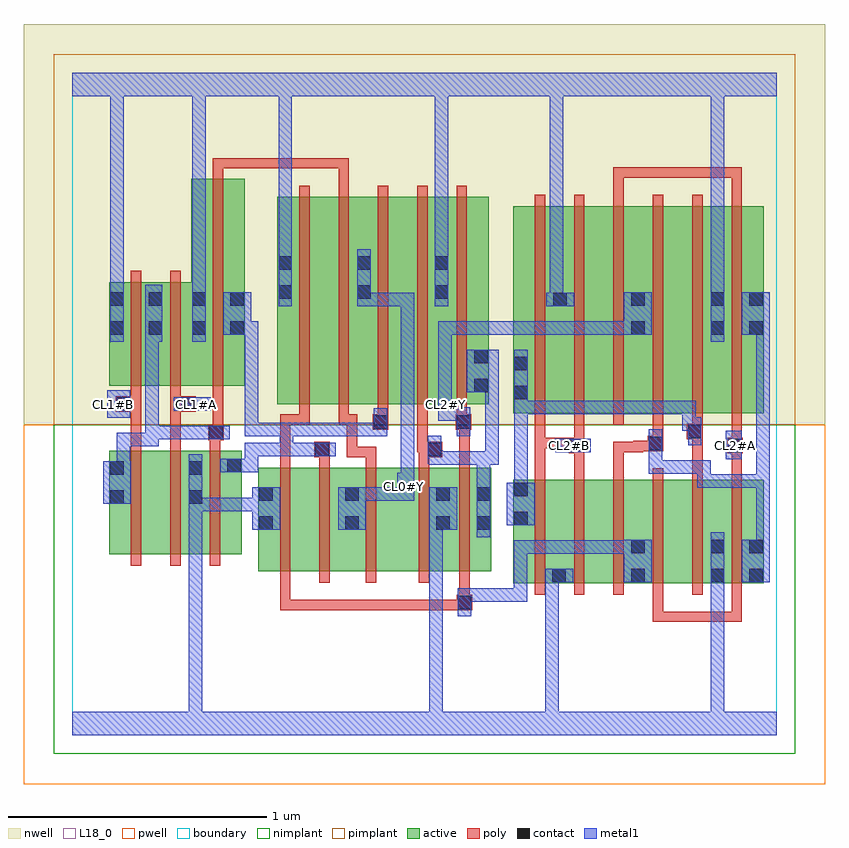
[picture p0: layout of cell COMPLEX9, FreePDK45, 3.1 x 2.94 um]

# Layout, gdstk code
import gdstk
lib = gdstk.Library(unit=1e-6, precision=1e-09)
def R(c, l, rs):  # rectangles x0, y0, x1, y1
    for r in rs: c.add(gdstk.rectangle(r[:2], r[2:], *l))
def A(c, l, x, y, w, h, nx, ny, dx, dy):  # array of equal rectangles
    R(c, l, [(x+i*dx, y+j*dy, x+i*dx+w, y+j*dy+h) for i in range(nx) for j in range(ny)])
active = (1, 0)
pwell = (2, 0)
nwell = (3, 0)
nimplant = (4, 0)
pimplant = (5, 0)
poly = (9, 0)
contact = (10, 0)
metal1 = (11, 0)
L18_0 = (18, 0)
boundary = (235, 0)

complex9 = lib.new_cell('COMPLEX9')
R(complex9, active, [(1.702,0.588,1.91,0.988), (1.85,0.588,2.034,0.988), (1.85,0.588,1.91,0.716), (2.034,0.588,2.214,0.988), (2.154,0.588,2.214,0.988), (2.154,0.588,2.338,0.988), (2.338,0.588,2.522,0.988), (2.462,0.588,2.67,0.988), (2.462,0.588,2.522,0.902), (2.61,0.588,2.67,0.988), (0.718,0.634,0.778,1.034), (0.718,0.634,0.898,1.034), (0.898,0.634,1.11,1.034), (1.05,0.634,1.11,1.034), (1.05,0.634,1.23,1.034), (1.23,0.634,1.462,1.034), (1.402,0.634,1.618,1.034), (1.402,0.634,1.462,1.006), (1.558,0.634,1.618,1.034), (1.702,0.634,1.762,0.988), (0.142,0.7,0.202,1.1), (0.142,0.7,0.322,1.1), (0.322,0.7,0.506,1.1), (0.446,0.7,0.654,1.1), (0.594,0.7,0.654,1.1), (0.446,0.756,0.506,1.062), (1.702,1.244,1.762,2.044), (1.702,1.244,1.914,2.044), (1.854,1.244,1.914,2.044), (1.854,1.244,2.034,2.044), (2.034,1.244,2.214,2.044), (2.154,1.244,2.214,2.044), (2.154,1.244,2.338,2.044), (2.338,1.244,2.522,2.044), (2.462,1.244,2.522,2.044), (2.462,1.244,2.67,2.044), (2.61,1.244,2.67,2.044), (0.792,1.28,0.852,2.08), (0.792,1.28,0.972,2.08), (0.972,1.28,1.156,2.08), (1.096,1.28,1.276,2.08), (1.096,1.28,1.156,2.044), (1.276,1.28,1.456,2.08), (1.396,1.28,1.608,2.08), (1.548,1.28,1.608,2.044), (0.142,1.35,0.202,1.75), (0.142,1.35,0.35,1.75), (0.29,1.35,0.35,1.75), (0.29,1.35,0.518,1.75), (0.458,1.35,0.518,2.15), (0.458,1.35,0.666,2.15), (0.606,1.35,0.666,2.044), (1.396,1.576,1.456,2.08)])
R(complex9, pwell, [(-0.188,-0.188,2.908,1.2)])
R(complex9, nwell, [(-0.188,1.2,2.908,2.748)])
R(complex9, nimplant, [(-0.072,-0.072,2.792,1.2)])
R(complex9, pimplant, [(-0.072,1.2,2.792,2.632)])
A(complex9, poly, 1.786, 0.544, 0.04, 0.488, 6, 1, 0.152, 0)
A(complex9, poly, 0.226, 0.656, 0.04, 0.488, 3, 1, 0.152, 0)
A(complex9, poly, 0.876, 1.2, 0.04, 0.076, 3, 1, 0.152, 0)
A(complex9, poly, 1.786, 1.2, 0.04, 0.888, 6, 1, 0.152, 0)
A(complex9, poly, 0.876, 1.236, 0.04, 0.888, 5, 1, 0.152, 0)
R(complex9, poly, [(2.242,0.438,2.282,0.584), (2.242,0.438,2.282,0.478), (2.242,0.438,2.414,0.478), (2.374,0.438,2.414,0.478), (2.374,0.438,2.414,0.478), (2.374,0.438,2.414,0.478), (2.374,0.438,2.586,0.478), (2.546,0.438,2.586,0.584), (2.546,0.438,2.586,0.478), (2.546,0.438,2.586,0.478), (2.546,0.438,2.586,0.478), (0.802,0.484,0.842,0.63), (0.802,0.484,0.842,0.524), (0.802,0.484,0.842,0.524), (0.802,0.484,0.842,0.524), (0.802,0.484,1.068,0.524), (1.028,0.484,1.068,0.524), (1.028,0.484,1.068,0.524), (1.028,0.484,1.068,0.524), (1.028,0.484,1.206,0.524), (1.166,0.484,1.206,0.524), (1.166,0.484,1.206,0.524), (1.166,0.484,1.206,0.524), (1.166,0.484,1.414,0.524), (1.374,0.484,1.414,0.524), (1.374,0.484,1.524,0.524), (1.484,0.484,1.524,0.524), (1.484,0.484,1.524,0.524), (1.484,0.484,1.544,0.544), (1.494,0.504,1.534,0.63), (0.802,0.59,0.842,1.078), (0.954,0.59,0.994,1.078), (1.134,0.59,1.174,1.078), (1.338,0.59,1.378,1.078), (1.494,0.59,1.534,1.078), (1.786,0.992,1.826,1.15), (1.938,0.992,1.978,1.13), (2.09,0.992,2.13,1.134), (2.394,0.992,2.434,1.184), (2.546,0.992,2.586,1.13), (0.802,1.038,0.842,1.24), (0.954,1.038,0.994,1.114), (1.134,1.038,1.174,1.114), (1.338,1.038,1.378,1.114), (1.494,1.038,1.534,1.22), (0.934,1.074,0.994,1.134), (1.06,1.074,1.1,1.114), (1.06,1.074,1.174,1.114), (1.06,1.074,1.1,1.24), (1.134,1.074,1.174,1.114), (1.338,1.074,1.428,1.134), (1.918,1.09,1.978,1.15), (2.53,1.09,2.59,1.15), (2.546,1.09,2.586,1.13), (2.546,1.09,2.586,1.13), (1.332,1.094,1.372,1.276), (1.332,1.094,1.378,1.134), (1.338,1.094,1.378,1.134), (2.09,1.094,2.13,1.134), (2.09,1.094,2.206,1.134), (2.166,1.094,2.206,1.138), (2.166,1.098,2.262,1.138), (2.222,1.098,2.282,1.158), (0.226,1.104,0.266,1.29), (0.378,1.104,0.418,1.29), (0.53,1.104,0.57,1.18), (1.786,1.11,1.826,1.15), (1.786,1.11,1.826,1.15), (1.786,1.11,1.826,1.15), (1.786,1.11,1.826,1.15), (1.786,1.11,1.826,1.15), (1.786,1.11,1.826,1.24), (1.786,1.11,1.978,1.15), (1.938,1.11,1.978,1.15), (1.938,1.11,1.978,1.15), (1.938,1.11,1.978,1.24), (2.546,1.11,2.586,1.24), (2.242,1.118,2.282,1.158), (2.242,1.118,2.282,1.158), (2.242,1.118,2.282,1.24), (0.524,1.14,0.584,1.2), (2.374,1.144,2.434,1.204), (2.394,1.144,2.434,1.184), (2.394,1.144,2.434,1.184), (0.542,1.16,0.582,1.2), (0.542,1.16,0.582,1.2), (0.542,1.16,0.582,1.346), (2.394,1.164,2.434,1.24), (1.16,1.18,1.22,1.24), (1.48,1.18,1.54,1.24), (1.494,1.18,1.534,1.22), (1.494,1.18,1.534,1.22), (0.802,1.2,0.868,1.24), (0.828,1.2,0.868,1.24), (0.828,1.2,0.916,1.24), (1.028,1.2,1.068,1.24), (1.028,1.2,1.1,1.24), (1.06,1.2,1.1,1.24), (1.484,1.2,1.524,1.276), (0.168,1.25,0.266,1.31), (0.226,1.25,0.266,1.29), (0.226,1.25,0.266,1.29), (0.378,1.25,0.418,1.29), (0.378,1.25,0.418,1.29), (0.378,1.25,0.476,1.31), (0.226,1.27,0.266,1.346), (0.378,1.27,0.418,1.346), (0.226,1.306,0.266,1.794), (0.378,1.306,0.418,1.794), (0.542,1.306,0.582,2.194), (2.09,2.048,2.13,2.194), (2.546,2.048,2.586,2.194), (1.028,2.084,1.068,2.23), (0.542,2.154,0.582,2.23), (2.09,2.154,2.13,2.194), (2.09,2.154,2.13,2.194), (2.09,2.154,2.13,2.194), (2.09,2.154,2.308,2.194), (2.268,2.154,2.308,2.194), (2.268,2.154,2.414,2.194), (2.374,2.154,2.414,2.194), (2.374,2.154,2.414,2.194), (2.374,2.154,2.414,2.194), (2.374,2.154,2.586,2.194), (2.546,2.154,2.586,2.194), (2.546,2.154,2.586,2.194), (2.546,2.154,2.586,2.194), (0.542,2.19,0.582,2.23), (0.542,2.19,0.582,2.23), (0.542,2.19,0.582,2.23), (0.542,2.19,0.736,2.23), (0.696,2.19,0.736,2.23), (0.696,2.19,0.868,2.23), (0.828,2.19,0.868,2.23), (0.828,2.19,0.868,2.23), (0.828,2.19,0.868,2.23), (0.828,2.19,1.068,2.23), (1.028,2.19,1.068,2.23)])
R(complex9, contact, [(1.488,0.488,1.54,0.54), (1.854,0.592,1.906,0.644), (2.158,0.592,2.21,0.644), (2.466,0.592,2.518,0.644), (2.614,0.592,2.666,0.644), (2.158,0.704,2.21,0.756), (2.466,0.704,2.518,0.756), (2.614,0.704,2.666,0.756), (0.722,0.794,0.774,0.846), (1.054,0.794,1.106,0.846), (1.406,0.794,1.458,0.846), (1.562,0.794,1.614,0.846), (1.706,0.812,1.758,0.864), (0.146,0.894,0.198,0.946), (0.45,0.894,0.502,0.946), (0.722,0.906,0.774,0.958), (1.054,0.906,1.106,0.958), (1.406,0.906,1.458,0.958), (1.562,0.906,1.614,0.958), (1.706,0.924,1.758,0.976), (0.146,1.006,0.198,1.058), (0.45,1.006,0.502,1.058), (0.598,1.016,0.65,1.068), (0.938,1.078,0.99,1.13), (1.372,1.078,1.424,1.13), (1.922,1.094,1.974,1.146), (2.534,1.094,2.586,1.146), (2.226,1.102,2.278,1.154), (0.528,1.144,0.58,1.196), (2.378,1.148,2.43,1.2), (1.164,1.184,1.216,1.236), (1.484,1.184,1.536,1.236), (0.172,1.254,0.224,1.306), (0.42,1.254,0.472,1.306), (1.706,1.298,1.758,1.35), (1.552,1.326,1.604,1.378), (1.706,1.41,1.758,1.462), (1.552,1.438,1.604,1.49), (0.146,1.548,0.198,1.6), (0.294,1.548,0.346,1.6), (0.462,1.548,0.514,1.6), (0.61,1.548,0.662,1.6), (2.158,1.548,2.21,1.6), (2.466,1.548,2.518,1.6), (2.614,1.548,2.666,1.6), (1.858,1.658,1.91,1.71), (0.146,1.66,0.198,1.712), (0.294,1.66,0.346,1.712), (0.462,1.66,0.514,1.712), (0.61,1.66,0.662,1.712), (2.158,1.66,2.21,1.712), (2.466,1.66,2.518,1.712), (2.614,1.66,2.666,1.712), (0.796,1.686,0.848,1.738), (1.1,1.686,1.152,1.738), (1.4,1.686,1.452,1.738), (0.796,1.798,0.848,1.85), (1.1,1.798,1.152,1.85), (1.4,1.798,1.452,1.85)])
R(complex9, metal1, [(0,0,2.72,0.092), (0.45,0.04,0.502,0.092), (0.45,0.04,0.502,0.092), (0.45,0.04,0.502,0.092), (0.45,0.04,0.502,0.092), (0.45,0.04,0.502,0.092), (0.45,0.04,0.502,0.092), (0.45,0.04,0.502,0.092), (0.45,0.04,0.502,0.092), (0.45,0.04,0.502,0.092), (0.45,0.04,0.502,0.092), (0.45,0.04,0.502,0.092), (0.45,0.04,0.502,0.092), (0.45,0.04,0.502,0.918), (1.378,0.04,1.43,0.092), (1.378,0.04,1.43,0.092), (1.378,0.04,1.43,0.092), (1.378,0.04,1.43,0.092), (1.378,0.04,1.43,0.092), (1.378,0.04,1.43,0.092), (1.378,0.04,1.43,0.092), (1.378,0.04,1.43,0.092), (1.378,0.04,1.43,0.092), (1.378,0.04,1.43,0.092), (1.378,0.04,1.43,0.092), (1.378,0.04,1.43,0.092), (1.378,0.04,1.43,0.846), (1.826,0.04,1.878,0.092), (1.826,0.04,1.878,0.092), (1.826,0.04,1.878,0.644), (2.466,0.04,2.518,0.092), (2.466,0.04,2.518,0.092), (2.466,0.04,2.518,0.092), (2.466,0.04,2.518,0.092), (2.466,0.04,2.518,0.092), (2.466,0.04,2.518,0.092), (2.466,0.04,2.518,0.092), (2.466,0.04,2.518,0.092), (2.466,0.04,2.518,0.092), (2.466,0.04,2.518,0.092), (2.466,0.04,2.518,0.092), (2.466,0.04,2.518,0.092), (2.466,0.04,2.518,0.616), (1.488,0.46,1.54,0.568), (1.488,0.516,1.646,0.568), (1.594,0.516,1.646,0.568), (1.594,0.516,1.756,0.568), (1.704,0.516,1.756,0.568), (1.704,0.516,1.756,0.754), (2.466,0.564,2.518,0.784), (1.826,0.592,1.878,0.644), (1.826,0.592,1.878,0.644), (1.826,0.592,1.878,0.644), (1.826,0.592,1.878,0.644), (1.826,0.592,1.878,0.644), (1.826,0.592,1.878,0.644), (1.826,0.592,1.878,0.644), (1.826,0.592,1.878,0.644), (1.826,0.592,1.878,0.644), (1.826,0.592,1.878,0.644), (1.826,0.592,1.934,0.644), (2.13,0.592,2.238,0.756), (2.586,0.592,2.694,0.756), (1.704,0.702,1.756,0.754), (1.704,0.702,1.756,0.754), (1.704,0.702,1.756,0.754), (1.704,0.702,1.756,0.754), (1.704,0.702,1.756,0.754), (1.704,0.702,1.948,0.754), (1.896,0.702,1.948,0.754), (1.896,0.702,1.948,0.754), (1.896,0.702,1.948,0.754), (1.896,0.702,1.948,0.754), (1.896,0.702,1.948,0.754), (1.896,0.702,1.948,0.754), (1.896,0.702,1.948,0.754), (1.896,0.702,2.058,0.754), (2.006,0.702,2.058,0.754), (2.006,0.702,2.058,0.754), (2.006,0.702,2.058,0.754), (2.006,0.702,2.182,0.754), (2.642,0.704,2.694,1.008), (1.562,0.766,1.614,0.986), (0.694,0.794,0.802,0.958), (1.026,0.794,1.134,0.958), (1.378,0.794,1.486,0.958), (1.678,0.812,1.786,0.976), (0.45,0.866,0.502,0.918), (0.45,0.866,0.502,0.918), (0.45,0.866,0.502,1.086), (0.45,0.866,0.612,0.918), (0.56,0.866,0.612,0.918), (0.56,0.866,0.746,0.918), (0.118,0.894,0.226,1.058), (1.082,0.906,1.134,0.958), (1.082,0.906,1.134,0.958), (1.082,0.906,1.134,0.958), (1.082,0.906,1.134,0.958), (1.082,0.906,1.306,0.958), (1.254,0.906,1.32,1.014), (1.706,0.924,1.758,1.292), (1.562,0.934,1.614,1.098), (2.414,0.956,2.528,1.008), (2.414,0.956,2.466,1.062), (2.476,0.956,2.528,1.008), (2.476,0.956,2.694,1.008), (2.642,0.956,2.694,1.008), (2.642,0.956,2.694,1.008), (2.642,0.956,2.694,1.008), (2.642,0.956,2.694,1.6), (1.268,0.962,1.32,1.014), (1.268,0.962,1.32,1.014), (1.268,0.962,1.32,1.71), (0.172,1.006,0.224,1.168), (2.226,1.01,2.278,1.118), (2.226,1.01,2.466,1.062), (0.57,1.016,0.718,1.068), (0.666,1.016,0.718,1.13), (1.378,1.046,1.614,1.098), (1.378,1.046,1.43,1.102), (1.562,1.046,1.614,1.098), (1.562,1.046,1.614,1.098), (1.562,1.046,1.646,1.098), (1.594,1.046,1.646,1.378), (1.372,1.05,1.424,1.158), (1.372,1.05,1.43,1.102), (2.226,1.066,2.278,1.118), (2.226,1.066,2.278,1.182), (2.524,1.066,2.586,1.176), (0.666,1.078,0.718,1.13), (0.666,1.078,0.718,1.13), (0.666,1.078,0.718,1.13), (0.666,1.078,0.852,1.13), (0.8,1.078,0.852,1.13), (0.8,1.078,0.852,1.13), (0.8,1.078,0.852,1.13), (0.8,1.078,0.962,1.13), (0.8,1.078,0.852,1.208), (0.91,1.078,1.018,1.13), (1.866,1.094,2.002,1.146), (0.172,1.116,0.224,1.168), (0.172,1.116,0.224,1.168), (0.172,1.116,0.224,1.168), (0.172,1.116,0.334,1.168), (0.282,1.116,0.334,1.196), (2.378,1.12,2.43,1.228), (0.282,1.144,0.334,1.196), (0.282,1.144,0.334,1.196), (0.282,1.144,0.336,1.196), (0.282,1.144,0.334,1.572), (0.284,1.144,0.336,1.196), (0.284,1.144,0.444,1.196), (0.392,1.144,0.444,1.196), (0.392,1.144,0.552,1.196), (0.5,1.144,0.608,1.196), (0.666,1.156,0.718,1.208), (0.666,1.156,0.852,1.208), (0.666,1.156,0.718,1.6), (0.8,1.156,0.852,1.208), (0.8,1.156,0.852,1.208), (0.8,1.156,0.852,1.208), (0.8,1.156,0.962,1.208), (0.91,1.156,0.962,1.208), (0.91,1.156,0.962,1.208), (0.91,1.156,0.962,1.208), (0.91,1.156,1.216,1.208), (1.164,1.156,1.216,1.264), (1.484,1.156,1.536,1.268), (2.356,1.176,2.43,1.228), (2.356,1.176,2.408,1.292), (1.414,1.216,1.536,1.268), (1.414,1.216,1.466,1.334), (0.134,1.226,0.224,1.334), (1.706,1.24,1.758,1.292), (1.706,1.24,1.758,1.292), (1.706,1.24,1.758,1.292), (1.706,1.24,1.758,1.292), (1.706,1.24,1.758,1.292), (1.706,1.24,1.948,1.292), (1.706,1.24,1.758,1.322), (1.896,1.24,1.948,1.292), (1.896,1.24,1.948,1.292), (1.896,1.24,1.948,1.292), (1.896,1.24,2.058,1.292), (2.006,1.24,2.058,1.292), (2.006,1.24,2.058,1.292), (2.006,1.24,2.058,1.292), (2.006,1.24,2.168,1.292), (2.116,1.24,2.168,1.292), (2.116,1.24,2.168,1.292), (2.116,1.24,2.168,1.292), (2.116,1.24,2.408,1.292), (0.392,1.254,0.534,1.306), (1.706,1.27,1.758,1.49), (1.414,1.282,1.466,1.6), (1.524,1.326,1.646,1.49), (1.594,1.326,1.646,1.378), (1.594,1.326,1.646,1.378), (0.146,1.52,0.198,1.74), (0.282,1.52,0.346,1.74), (0.462,1.52,0.514,1.74), (2.466,1.52,2.518,1.74), (0.582,1.548,0.69,1.712), (0.638,1.548,0.718,1.6), (0.666,1.548,0.718,1.6), (1.414,1.548,1.466,1.6), (1.414,1.548,1.466,1.6), (1.414,1.548,1.466,1.6), (1.414,1.548,1.576,1.6), (1.524,1.548,1.576,1.6), (1.524,1.548,1.576,1.6), (1.524,1.548,1.576,1.6), (1.524,1.548,1.756,1.6), (1.704,1.548,1.756,1.6), (1.704,1.548,1.756,1.6), (1.704,1.548,1.756,1.6), (1.704,1.548,1.948,1.6), (1.896,1.548,1.948,1.6), (1.896,1.548,1.948,1.6), (1.896,1.548,1.948,1.6), (1.896,1.548,1.948,1.6), (1.896,1.548,1.948,1.6), (1.896,1.548,2.058,1.6), (2.006,1.548,2.058,1.6), (2.006,1.548,2.058,1.6), (2.006,1.548,2.058,1.6), (2.006,1.548,2.182,1.6), (2.13,1.548,2.238,1.712), (2.586,1.548,2.694,1.712), (2.642,1.548,2.694,1.6), (2.642,1.548,2.694,1.6), (0.796,1.658,0.848,1.878), (1.1,1.658,1.152,1.71), (1.1,1.658,1.152,1.71), (1.1,1.658,1.152,1.878), (1.1,1.658,1.32,1.71), (1.268,1.658,1.32,1.71), (1.4,1.658,1.452,1.878), (1.83,1.658,1.938,1.71), (1.844,1.658,1.896,2.52), (0.146,1.688,0.198,1.74), (0.146,1.688,0.198,1.74), (0.146,1.688,0.198,1.74), (0.146,1.688,0.198,1.74), (0.146,1.688,0.198,1.74), (0.146,1.688,0.198,1.74), (0.146,1.688,0.198,1.74), (0.146,1.688,0.198,1.74), (0.146,1.688,0.198,1.74), (0.146,1.688,0.198,1.74), (0.146,1.688,0.198,1.74), (0.146,1.688,0.198,1.74), (0.146,1.688,0.198,1.74), (0.146,1.688,0.198,1.74), (0.146,1.688,0.198,2.52), (0.462,1.688,0.514,2.52), (2.466,1.688,2.518,2.52), (0.796,1.826,0.848,1.878), (0.796,1.826,0.848,1.878), (0.796,1.826,0.848,1.878), (0.796,1.826,0.848,1.878), (0.796,1.826,0.848,1.878), (0.796,1.826,0.848,1.878), (0.796,1.826,0.848,1.878), (0.796,1.826,0.848,1.878), (0.796,1.826,0.848,2.52), (1.4,1.826,1.452,1.878), (1.4,1.826,1.452,1.878), (1.4,1.826,1.452,1.878), (1.4,1.826,1.452,1.878), (1.4,1.826,1.452,1.878), (1.4,1.826,1.452,1.878), (1.4,1.826,1.452,1.878), (1.4,1.826,1.452,1.878), (1.4,1.826,1.452,2.52), (0,2.468,2.72,2.56), (0.146,2.468,0.198,2.52), (0.146,2.468,0.198,2.52), (0.462,2.468,0.514,2.52), (0.462,2.468,0.514,2.52), (0.462,2.468,0.514,2.52), (0.462,2.468,0.514,2.52), (0.462,2.468,0.514,2.52), (0.462,2.468,0.514,2.52), (0.462,2.468,0.514,2.52), (0.462,2.468,0.514,2.52), (1.844,2.468,1.896,2.52), (1.844,2.468,1.896,2.52), (1.844,2.468,1.896,2.52), (1.844,2.468,1.896,2.52), (1.844,2.468,1.896,2.52), (1.844,2.468,1.896,2.52), (1.844,2.468,1.896,2.52), (1.844,2.468,1.896,2.52), (2.466,2.468,2.518,2.52), (2.466,2.468,2.518,2.52), (2.466,2.468,2.518,2.52), (2.466,2.468,2.518,2.52), (2.466,2.468,2.518,2.52), (2.466,2.468,2.518,2.52), (2.466,2.468,2.518,2.52), (2.466,2.468,2.518,2.52)])
R(complex9, L18_0, [(0,0,2.72,0.092), (0.45,0.04,0.502,0.092), (0.45,0.04,0.502,0.092), (0.45,0.04,0.502,0.092), (0.45,0.04,0.502,0.092), (0.45,0.04,0.502,0.092), (0.45,0.04,0.502,0.092), (0.45,0.04,0.502,0.092), (0.45,0.04,0.502,0.092), (0.45,0.04,0.502,0.092), (0.45,0.04,0.502,0.092), (0.45,0.04,0.502,0.092), (0.45,0.04,0.502,0.092), (0.45,0.04,0.502,0.918), (1.378,0.04,1.43,0.092), (1.378,0.04,1.43,0.092), (1.378,0.04,1.43,0.092), (1.378,0.04,1.43,0.092), (1.378,0.04,1.43,0.092), (1.378,0.04,1.43,0.092), (1.378,0.04,1.43,0.092), (1.378,0.04,1.43,0.092), (1.378,0.04,1.43,0.092), (1.378,0.04,1.43,0.092), (1.378,0.04,1.43,0.092), (1.378,0.04,1.43,0.092), (1.378,0.04,1.43,0.846), (1.826,0.04,1.878,0.092), (1.826,0.04,1.878,0.092), (1.826,0.04,1.878,0.644), (2.466,0.04,2.518,0.092), (2.466,0.04,2.518,0.092), (2.466,0.04,2.518,0.092), (2.466,0.04,2.518,0.092), (2.466,0.04,2.518,0.092), (2.466,0.04,2.518,0.092), (2.466,0.04,2.518,0.092), (2.466,0.04,2.518,0.092), (2.466,0.04,2.518,0.092), (2.466,0.04,2.518,0.092), (2.466,0.04,2.518,0.092), (2.466,0.04,2.518,0.092), (2.466,0.04,2.518,0.616), (1.488,0.46,1.54,0.568), (1.488,0.516,1.646,0.568), (1.594,0.516,1.646,0.568), (1.594,0.516,1.756,0.568), (1.704,0.516,1.756,0.568), (1.704,0.516,1.756,0.754), (2.466,0.564,2.518,0.784), (1.826,0.592,1.878,0.644), (1.826,0.592,1.878,0.644), (1.826,0.592,1.878,0.644), (1.826,0.592,1.878,0.644), (1.826,0.592,1.878,0.644), (1.826,0.592,1.878,0.644), (1.826,0.592,1.878,0.644), (1.826,0.592,1.878,0.644), (1.826,0.592,1.878,0.644), (1.826,0.592,1.878,0.644), (1.826,0.592,1.934,0.644), (2.13,0.592,2.238,0.756), (1.704,0.702,1.756,0.754), (1.704,0.702,1.756,0.754), (1.704,0.702,1.756,0.754), (1.704,0.702,1.756,0.754), (1.704,0.702,1.756,0.754), (1.704,0.702,1.948,0.754), (1.896,0.702,1.948,0.754), (1.896,0.702,1.948,0.754), (1.896,0.702,1.948,0.754), (1.896,0.702,1.948,0.754), (1.896,0.702,1.948,0.754), (1.896,0.702,1.948,0.754), (1.896,0.702,1.948,0.754), (1.896,0.702,2.058,0.754), (2.006,0.702,2.058,0.754), (2.006,0.702,2.058,0.754), (2.006,0.702,2.058,0.754), (2.006,0.702,2.182,0.754), (0.694,0.794,0.802,0.958), (1.026,0.794,1.134,0.958), (1.378,0.794,1.486,0.958), (0.45,0.866,0.502,1.086), (0.45,0.866,0.502,0.918), (0.45,0.866,0.502,0.918), (0.45,0.866,0.612,0.918), (0.56,0.866,0.612,0.918), (0.56,0.866,0.746,0.918), (1.082,0.906,1.134,0.958), (1.082,0.906,1.134,0.958), (1.082,0.906,1.134,0.958), (1.082,0.906,1.134,0.958), (1.082,0.906,1.306,0.958), (1.254,0.906,1.32,1.014), (1.254,0.934,1.306,0.986), (1.268,0.962,1.32,1.014), (1.268,0.962,1.32,1.014), (1.268,0.962,1.32,1.71), (2.524,1.066,2.586,1.176), (1.866,1.094,2.002,1.146), (1.894,1.094,1.946,1.146), (2.534,1.094,2.586,1.146), (1.484,1.156,1.536,1.268), (1.414,1.216,1.466,1.334), (1.414,1.216,1.536,1.268), (0.134,1.226,0.224,1.334), (0.134,1.254,0.186,1.306), (0.392,1.254,0.534,1.306), (0.454,1.254,0.506,1.306), (1.414,1.254,1.466,1.306), (1.414,1.282,1.466,1.6), (0.146,1.52,0.198,1.74), (0.462,1.52,0.514,1.74), (2.466,1.52,2.518,1.74), (1.414,1.548,1.466,1.6), (1.414,1.548,1.466,1.6), (1.414,1.548,1.466,1.6), (1.414,1.548,1.576,1.6), (1.524,1.548,1.576,1.6), (1.524,1.548,1.576,1.6), (1.524,1.548,1.576,1.6), (1.524,1.548,1.756,1.6), (1.704,1.548,1.756,1.6), (1.704,1.548,1.756,1.6), (1.704,1.548,1.756,1.6), (1.704,1.548,1.948,1.6), (1.896,1.548,1.948,1.6), (1.896,1.548,1.948,1.6), (1.896,1.548,1.948,1.6), (1.896,1.548,1.948,1.6), (1.896,1.548,1.948,1.6), (1.896,1.548,2.058,1.6), (2.006,1.548,2.058,1.6), (2.006,1.548,2.058,1.6), (2.006,1.548,2.058,1.6), (2.006,1.548,2.182,1.6), (2.13,1.548,2.238,1.712), (0.796,1.658,0.848,1.878), (1.1,1.658,1.152,1.878), (1.1,1.658,1.152,1.71), (1.1,1.658,1.152,1.71), (1.1,1.658,1.32,1.71), (1.268,1.658,1.32,1.71), (1.4,1.658,1.452,1.878), (1.83,1.658,1.938,1.71), (1.844,1.658,1.896,2.52), (0.146,1.688,0.198,1.74), (0.146,1.688,0.198,1.74), (0.146,1.688,0.198,1.74), (0.146,1.688,0.198,1.74), (0.146,1.688,0.198,1.74), (0.146,1.688,0.198,1.74), (0.146,1.688,0.198,1.74), (0.146,1.688,0.198,1.74), (0.146,1.688,0.198,1.74), (0.146,1.688,0.198,1.74), (0.146,1.688,0.198,1.74), (0.146,1.688,0.198,1.74), (0.146,1.688,0.198,1.74), (0.146,1.688,0.198,1.74), (0.146,1.688,0.198,2.52), (0.462,1.688,0.514,2.52), (2.466,1.688,2.518,2.52), (0.796,1.826,0.848,1.878), (0.796,1.826,0.848,1.878), (0.796,1.826,0.848,1.878), (0.796,1.826,0.848,1.878), (0.796,1.826,0.848,1.878), (0.796,1.826,0.848,1.878), (0.796,1.826,0.848,1.878), (0.796,1.826,0.848,1.878), (0.796,1.826,0.848,2.52), (1.4,1.826,1.452,1.878), (1.4,1.826,1.452,1.878), (1.4,1.826,1.452,1.878), (1.4,1.826,1.452,1.878), (1.4,1.826,1.452,1.878), (1.4,1.826,1.452,1.878), (1.4,1.826,1.452,1.878), (1.4,1.826,1.452,1.878), (1.4,1.826,1.452,2.52), (0,2.468,2.72,2.56), (0.146,2.468,0.198,2.52), (0.146,2.468,0.198,2.52), (0.462,2.468,0.514,2.52), (0.462,2.468,0.514,2.52), (0.462,2.468,0.514,2.52), (0.462,2.468,0.514,2.52), (0.462,2.468,0.514,2.52), (0.462,2.468,0.514,2.52), (0.462,2.468,0.514,2.52), (0.462,2.468,0.514,2.52), (1.844,2.468,1.896,2.52), (1.844,2.468,1.896,2.52), (1.844,2.468,1.896,2.52), (1.844,2.468,1.896,2.52), (1.844,2.468,1.896,2.52), (1.844,2.468,1.896,2.52), (1.844,2.468,1.896,2.52), (1.844,2.468,1.896,2.52), (2.466,2.468,2.518,2.52), (2.466,2.468,2.518,2.52), (2.466,2.468,2.518,2.52), (2.466,2.468,2.518,2.52), (2.466,2.468,2.518,2.52), (2.466,2.468,2.518,2.52), (2.466,2.468,2.518,2.52), (2.466,2.468,2.518,2.52)])
R(complex9, boundary, [(0,0,2.72,2.56)])
complex9.add(gdstk.Label('CL0#Y', (1.28,0.96), layer=11, texttype=0))
complex9.add(gdstk.Label('CL1#A', (0.48,1.28), layer=11, texttype=0))
complex9.add(gdstk.Label('CL1#B', (0.16,1.28), layer=11, texttype=0))
complex9.add(gdstk.Label('CL2#A', (2.56,1.12), layer=11, texttype=0))
complex9.add(gdstk.Label('CL2#B', (1.92,1.12), layer=11, texttype=0))
complex9.add(gdstk.Label('CL2#Y', (1.44,1.28), layer=11, texttype=0))

lib.write_gds('COMPLEX9.gds')
